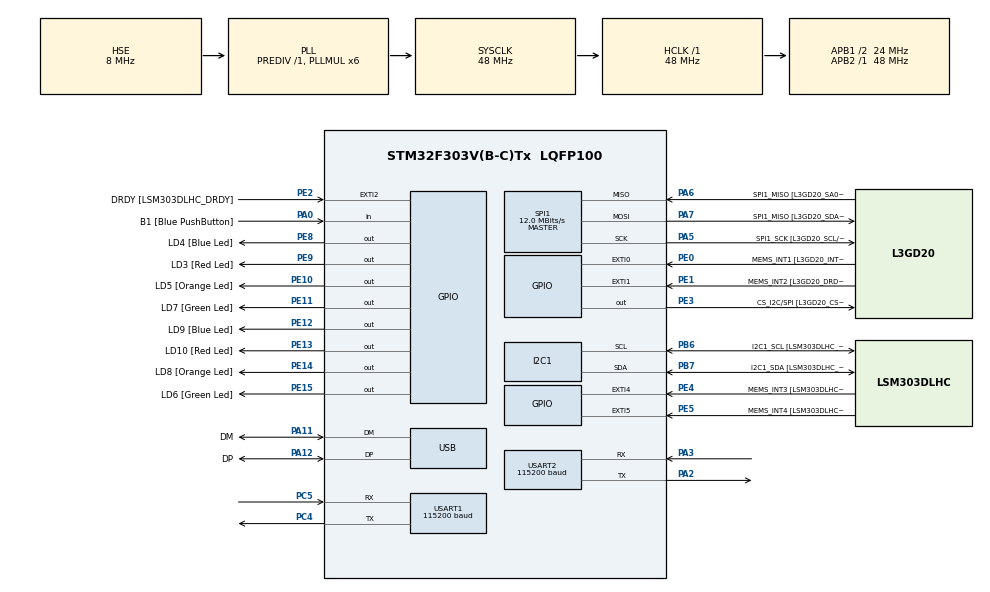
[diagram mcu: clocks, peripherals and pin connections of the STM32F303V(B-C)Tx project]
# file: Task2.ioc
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I2C1.Timing=0x2000090E
I2C1.Timing-I2C=0x2000090E
Mcu.Family=STM32F3
Mcu.Name=STM32F303V(B-C)Tx
Mcu.Package=LQFP100
NVIC.PriorityGroup=NVIC_PRIORITYGROUP_0
PA0.GPIO_Label=B1 [Blue PushButton]
PA0.Signal=GPIO_Input
PA11.GPIO_Label=DM
PA11.Mode=Device
PA11.Signal=USB_DM
PA12.GPIO_Label=DP
PA12.Mode=Device
PA12.Signal=USB_DP
PA13.GPIO_Label=SWDIO
PA13.Mode=Serial_Wire
PA13.Signal=SYS_JTMS-SWDIO
PA14.GPIO_Label=SWCLK
PA14.Mode=Serial_Wire
PA14.Signal=SYS_JTCK-SWCLK
PA2.Mode=Asynchronous
PA2.Signal=USART2_TX
PA3.Mode=Asynchronous
PA3.Signal=USART2_RX
PA5.GPIO_Label=SPI1_SCK [L3GD20_SCL/SPC]
PA5.Mode=Full_Duplex_Master
PA5.Signal=SPI1_SCK
PA6.GPIO_Label=SPI1_MISO [L3GD20_SA0/SDO]
PA6.Mode=Full_Duplex_Master
PA6.Signal=SPI1_MISO
PA7.GPIO_Label=SPI1_MISO [L3GD20_SDA/SDI/SDO]
PA7.Mode=Full_Duplex_Master
PA7.Signal=SPI1_MOSI
PB3.GPIO_Label=SWO
PB3.Signal=SYS_JTDO-TRACESWO
PB6.GPIO_Label=I2C1_SCL [LSM303DLHC_SCL]
PB6.GPIO_Pu=GPIO_PULLUP
PB6.Mode=I2C
PB6.Signal=I2C1_SCL
PB7.GPIO_Label=I2C1_SDA [LSM303DLHC_SDA]
PB7.GPIO_Pu=GPIO_PULLUP
PB7.Mode=I2C
PB7.Signal=I2C1_SDA
PC14-OSC32_IN.GPIO_Label=OSC32_IN
PC14-OSC32_IN.Signal=RCC_OSC32_IN
PC15-OSC32_OUT.GPIO_Label=OSC32_OUT
PC15-OSC32_OUT.Signal=RCC_OSC32_OUT
PC4.Mode=Asynchronous
PC4.Signal=USART1_TX
PC5.Mode=Asynchronous
PC5.Signal=USART1_RX
PE0.GPIO_Label=MEMS_INT1 [L3GD20_INT1]
PE0.GPIO_ModeDefaultEXTI=GPIO_MODE_EVT_RISING
PE0.Signal=GPXTI0
PE1.GPIO_Label=MEMS_INT2 [L3GD20_DRDY/INT2]
PE1.GPIO_ModeDefaultEXTI=GPIO_MODE_EVT_RISING
PE1.Signal=GPXTI1
PE10.GPIO_Label=LD5 [Orange Led]
PE10.Signal=GPIO_Output
PE11.GPIO_Label=LD7 [Green Led]
PE11.Signal=GPIO_Output
PE12.GPIO_Label=LD9 [Blue Led]
PE12.Signal=GPIO_Output
PE13.GPIO_Label=LD10 [Red Led]
PE13.Signal=GPIO_Output
PE14.GPIO_Label=LD8 [Orange Led]
PE14.Signal=GPIO_Output
PE15.GPIO_Label=LD6 [Green Led]
PE15.Signal=GPIO_Output
PE2.GPIO_Label=DRDY [LSM303DLHC_DRDY]
PE2.GPIO_ModeDefaultEXTI=GPIO_MODE_EVT_RISING
PE2.Signal=GPXTI2
PE3.GPIO_Label=CS_I2C/SPI [L3GD20_CS_I2C/SPI]
PE3.Signal=GPIO_Output
PE4.GPIO_Label=MEMS_INT3 [LSM303DLHC_INT1]
PE4.GPIO_ModeDefaultEXTI=GPIO_MODE_EVT_RISING
PE4.Signal=GPXTI4
PE5.GPIO_Label=MEMS_INT4 [LSM303DLHC_INT2]
PE5.GPIO_ModeDefaultEXTI=GPIO_MODE_EVT_RISING
PE5.Signal=GPXTI5
PE8.GPIO_Label=LD4 [Blue Led]
PE8.Signal=GPIO_Output
PE9.GPIO_Label=LD3 [Red Led]
PE9.Signal=GPIO_Output
PF0-OSC_IN.GPIO_Label=OSC_IN
PF0-OSC_IN.Mode=HSE-External-Clock-Source
PF0-OSC_IN.Signal=RCC_OSC_IN
PF1-OSC_OUT.GPIO_Label=OSC_OUT
PF1-OSC_OUT.Signal=RCC_OSC_OUT
ProjectManager.HeapSize=0x200
ProjectManager.StackSize=0x400
ProjectManager.TargetToolchain=CMake
RCC.AHBFreq_Value=48000000
RCC.APB1CLKDivider=RCC_HCLK_DIV2
RCC.APB1Freq_Value=24000000
RCC.APB1TimFreq_Value=48000000
RCC.APB2Freq_Value=48000000
RCC.APB2TimFreq_Value=48000000
RCC.CortexFreq_Value=48000000
RCC.HCLKFreq_Value=48000000
RCC.HSE_VALUE=8000000
RCC.HSI_VALUE=8000000
RCC.LSE_VALUE=32768
RCC.PLLMUL=RCC_PLL_MUL6
RCC.SYSCLKFreq_VALUE=48000000
RCC.SYSCLKSourceVirtual=RCC_SYSCLKSOURCE_PLLCLK
RCC.USBFreq_Value=48000000
SPI1.BaudRatePrescaler=SPI_BAUDRATEPRESCALER_4
SPI1.BaudRatePrescaler-Full_Duplex_Master=SPI_BAUDRATEPRESCALER_2
SPI1.CalculateBaudRate=12.0 MBits/s
SPI1.CalculateBaudRate-Full_Duplex_Master=24.0 MBits/s
SPI1.Direction=SPI_DIRECTION_2LINES
SPI1.Mode=SPI_MODE_MASTER
SPI1.Mode-Full_Duplex_Master=SPI_MODE_MASTER
SPI1.VirtualType=VM_MASTER
USART1.BaudRate=115200
USART1.VirtualMode-Asynchronous=VM_ASYNC
USART2.BaudRate=115200
USART2.VirtualMode-Asynchronous=VM_ASYNC
board=STM32F3DISCOVERY

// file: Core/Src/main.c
/* USER CODE BEGIN Header */
/**
  ******************************************************************************
  * @file           : main.c
  * @brief          : Main program body
  ******************************************************************************
  * @attention
  *
  * Copyright (c) 2025 STMicroelectronics.
  * All rights reserved.
  *
  * This software is licensed under terms that can be found in the LICENSE file
  * in the root directory of this software component.
  * If no LICENSE file comes with this software, it is provided AS-IS.
  *
  ******************************************************************************
  */
/* USER CODE END Header */
#include "main.h"

/* USER CODE BEGIN Includes */
#include "heap_driver.h"
#include <string.h>
#include <stdio.h>
/* USER CODE END Includes */

I2C_HandleTypeDef hi2c1;

SPI_HandleTypeDef hspi1;

UART_HandleTypeDef huart1;
UART_HandleTypeDef huart2;

PCD_HandleTypeDef hpcd_USB_FS;

void SystemClock_Config(void);
static void MX_GPIO_Init(void);
static void MX_I2C1_Init(void);
static void MX_SPI1_Init(void);
static void MX_USART1_UART_Init(void);
static void MX_USB_PCD_Init(void);
static void MX_USART2_UART_Init(void);

/* USER CODE BEGIN 0 */
void cout(const char* msg) {
  HAL_UART_Transmit(&huart2, (uint8_t*)msg, strlen(msg), HAL_MAX_DELAY);
}

/* USER CODE END 0 */

int main(void)
{

  /* MCU Configuration--------------------------------------------------------*/

  /* Reset of all peripherals, Initializes the Flash interface and the Systick. */
  HAL_Init();

  /* Configure the system clock */
  SystemClock_Config();

  /* Initialize all configured peripherals */
  MX_GPIO_Init();
  MX_I2C1_Init();
  MX_SPI1_Init();
  MX_USART1_UART_Init();
  MX_USB_PCD_Init();
  MX_USART2_UART_Init();
  /* USER CODE BEGIN 2 */

  // Print a message over UART to indicate the start of the test.
  cout("Custom Heap Driver (Direct SRAM)\r\n");
  heap_init();
  char* blk1 = (char*)heap_alloc(32);
  char* blk2 = (char*)heap_alloc(48);
  if (blk1 && blk2) {
      strcpy(blk1, "data in Block 1");
      strcpy(blk2, "txt from Block 2");
      cout(blk1);
      cout("\r\n");
      cout(blk2);
      cout("\r\n");

  } else {
      cout("allocation has failed.\r\n");
  }
  heap_free(blk1);
  heap_free(blk2);

  // Print a confirmation that memory has been freed.
  cout("blocks freed.\r\n");

  /* USER CODE END 2 */

  /* Infinite loop */
  while (1)
  {

  }
}

void SystemClock_Config(void)
{
  RCC_OscInitTypeDef RCC_OscInitStruct = {0};
  RCC_ClkInitTypeDef RCC_ClkInitStruct = {0};
  RCC_PeriphCLKInitTypeDef PeriphClkInit = {0};

  /** Initializes the RCC Oscillators according to the specified parameters
  * in the RCC_OscInitTypeDef structure.
  */
  RCC_OscInitStruct.OscillatorType = RCC_OSCILLATORTYPE_HSI|RCC_OSCILLATORTYPE_HSE;
  RCC_OscInitStruct.HSEState = RCC_HSE_BYPASS;
  RCC_OscInitStruct.HSEPredivValue = RCC_HSE_PREDIV_DIV1;
  RCC_OscInitStruct.HSIState = RCC_HSI_ON;
  RCC_OscInitStruct.HSICalibrationValue = RCC_HSICALIBRATION_DEFAULT;
  RCC_OscInitStruct.PLL.PLLState = RCC_PLL_ON;
  RCC_OscInitStruct.PLL.PLLSource = RCC_PLLSOURCE_HSE;
  RCC_OscInitStruct.PLL.PLLMUL = RCC_PLL_MUL6;
  if (HAL_RCC_OscConfig(&RCC_OscInitStruct) != HAL_OK)
  {
    Error_Handler();
  }

  /** Initializes the CPU, AHB and APB buses clocks
  */
  RCC_ClkInitStruct.ClockType = RCC_CLOCKTYPE_HCLK|RCC_CLOCKTYPE_SYSCLK
                              |RCC_CLOCKTYPE_PCLK1|RCC_CLOCKTYPE_PCLK2;
  RCC_ClkInitStruct.SYSCLKSource = RCC_SYSCLKSOURCE_PLLCLK;
  RCC_ClkInitStruct.AHBCLKDivider = RCC_SYSCLK_DIV1;
  RCC_ClkInitStruct.APB1CLKDivider = RCC_HCLK_DIV2;
  RCC_ClkInitStruct.APB2CLKDivider = RCC_HCLK_DIV1;

  if (HAL_RCC_ClockConfig(&RCC_ClkInitStruct, FLASH_LATENCY_1) != HAL_OK)
  {
    Error_Handler();
  }
  PeriphClkInit.PeriphClockSelection = RCC_PERIPHCLK_USB|RCC_PERIPHCLK_USART1
                              |RCC_PERIPHCLK_USART2|RCC_PERIPHCLK_I2C1;
  PeriphClkInit.Usart1ClockSelection = RCC_USART1CLKSOURCE_PCLK2;
  PeriphClkInit.Usart2ClockSelection = RCC_USART2CLKSOURCE_PCLK1;
  PeriphClkInit.I2c1ClockSelection = RCC_I2C1CLKSOURCE_HSI;
  PeriphClkInit.USBClockSelection = RCC_USBCLKSOURCE_PLL;
  if (HAL_RCCEx_PeriphCLKConfig(&PeriphClkInit) != HAL_OK)
  {
    Error_Handler();
  }
}

static void MX_I2C1_Init(void)
{

  hi2c1.Instance = I2C1;
  hi2c1.Init.Timing = 0x2000090E;
  hi2c1.Init.OwnAddress1 = 0;
  hi2c1.Init.AddressingMode = I2C_ADDRESSINGMODE_7BIT;
  hi2c1.Init.DualAddressMode = I2C_DUALADDRESS_DISABLE;
  hi2c1.Init.OwnAddress2 = 0;
  hi2c1.Init.OwnAddress2Masks = I2C_OA2_NOMASK;
  hi2c1.Init.GeneralCallMode = I2C_GENERALCALL_DISABLE;
  hi2c1.Init.NoStretchMode = I2C_NOSTRETCH_DISABLE;
  if (HAL_I2C_Init(&hi2c1) != HAL_OK)
  {
    Error_Handler();
  }

  /** Configure Analogue filter
  */
  if (HAL_I2CEx_ConfigAnalogFilter(&hi2c1, I2C_ANALOGFILTER_ENABLE) != HAL_OK)
  {
    Error_Handler();
  }

  /** Configure Digital filter
  */
  if (HAL_I2CEx_ConfigDigitalFilter(&hi2c1, 0) != HAL_OK)
  {
    Error_Handler();
  }

}

static void MX_SPI1_Init(void)
{

  /* SPI1 parameter configuration*/
  hspi1.Instance = SPI1;
  hspi1.Init.Mode = SPI_MODE_MASTER;
  hspi1.Init.Direction = SPI_DIRECTION_2LINES;
  hspi1.Init.DataSize = SPI_DATASIZE_4BIT;
  hspi1.Init.CLKPolarity = SPI_POLARITY_LOW;
  hspi1.Init.CLKPhase = SPI_PHASE_1EDGE;
  hspi1.Init.NSS = SPI_NSS_SOFT;
  hspi1.Init.BaudRatePrescaler = SPI_BAUDRATEPRESCALER_4;
  hspi1.Init.FirstBit = SPI_FIRSTBIT_MSB;
  hspi1.Init.TIMode = SPI_TIMODE_DISABLE;
  hspi1.Init.CRCCalculation = SPI_CRCCALCULATION_DISABLE;
  hspi1.Init.CRCPolynomial = 7;
  hspi1.Init.CRCLength = SPI_CRC_LENGTH_DATASIZE;
  hspi1.Init.NSSPMode = SPI_NSS_PULSE_ENABLE;
  if (HAL_SPI_Init(&hspi1) != HAL_OK)
  {
    Error_Handler();
  }

}

static void MX_USART1_UART_Init(void)
{

  huart1.Instance = USART1;
  huart1.Init.BaudRate = 115200;
  huart1.Init.WordLength = UART_WORDLENGTH_8B;
  huart1.Init.StopBits = UART_STOPBITS_1;
  huart1.Init.Parity = UART_PARITY_NONE;
  huart1.Init.Mode = UART_MODE_TX_RX;
  huart1.Init.HwFlowCtl = UART_HWCONTROL_NONE;
  huart1.Init.OverSampling = UART_OVERSAMPLING_16;
  huart1.Init.OneBitSampling = UART_ONE_BIT_SAMPLE_DISABLE;
  huart1.AdvancedInit.AdvFeatureInit = UART_ADVFEATURE_NO_INIT;
  if (HAL_UART_Init(&huart1) != HAL_OK)
  {
    Error_Handler();
  }

}

static void MX_USART2_UART_Init(void)
{

  huart2.Instance = USART2;
  huart2.Init.BaudRate = 115200;
  huart2.Init.WordLength = UART_WORDLENGTH_8B;
  huart2.Init.StopBits = UART_STOPBITS_1;
  huart2.Init.Parity = UART_PARITY_NONE;
  huart2.Init.Mode = UART_MODE_TX_RX;
  huart2.Init.HwFlowCtl = UART_HWCONTROL_NONE;
  huart2.Init.OverSampling = UART_OVERSAMPLING_16;
  huart2.Init.OneBitSampling = UART_ONE_BIT_SAMPLE_DISABLE;
  huart2.AdvancedInit.AdvFeatureInit = UART_ADVFEATURE_NO_INIT;
  if (HAL_UART_Init(&huart2) != HAL_OK)
  {
    Error_Handler();
  }

}

static void MX_USB_PCD_Init(void)
{

  hpcd_USB_FS.Instance = USB;
  hpcd_USB_FS.Init.dev_endpoints = 8;
  hpcd_USB_FS.Init.speed = PCD_SPEED_FULL;
  hpcd_USB_FS.Init.phy_itface = PCD_PHY_EMBEDDED;
  hpcd_USB_FS.Init.low_power_enable = DISABLE;
  hpcd_USB_FS.Init.battery_charging_enable = DISABLE;
  if (HAL_PCD_Init(&hpcd_USB_FS) != HAL_OK)
  {
    Error_Handler();
  }

}

static void MX_GPIO_Init(void)
{
  GPIO_InitTypeDef GPIO_InitStruct = {0};

  /* GPIO Ports Clock Enable */
  __HAL_RCC_GPIOE_CLK_ENABLE();
  __HAL_RCC_GPIOC_CLK_ENABLE();
  __HAL_RCC_GPIOF_CLK_ENABLE();
  __HAL_RCC_GPIOA_CLK_ENABLE();
  __HAL_RCC_GPIOB_CLK_ENABLE();

  /*Configure GPIO pin Output Level */
  HAL_GPIO_WritePin(GPIOE, CS_I2C_SPI_Pin|LD4_Pin|LD3_Pin|LD5_Pin
                          |LD7_Pin|LD9_Pin|LD10_Pin|LD8_Pin
                          |LD6_Pin, GPIO_PIN_RESET);

  /*Configure GPIO pins : DRDY_Pin MEMS_INT3_Pin MEMS_INT4_Pin MEMS_INT1_Pin
                           MEMS_INT2_Pin */
  GPIO_InitStruct.Pin = DRDY_Pin|MEMS_INT3_Pin|MEMS_INT4_Pin|MEMS_INT1_Pin
                          |MEMS_INT2_Pin;
  GPIO_InitStruct.Mode = GPIO_MODE_EVT_RISING;
  GPIO_InitStruct.Pull = GPIO_NOPULL;
  HAL_GPIO_Init(GPIOE, &GPIO_InitStruct);

  /*Configure GPIO pins : CS_I2C_SPI_Pin LD4_Pin LD3_Pin LD5_Pin
                           LD7_Pin LD9_Pin LD10_Pin LD8_Pin
                           LD6_Pin */
  GPIO_InitStruct.Pin = CS_I2C_SPI_Pin|LD4_Pin|LD3_Pin|LD5_Pin
                          |LD7_Pin|LD9_Pin|LD10_Pin|LD8_Pin
                          |LD6_Pin;
  GPIO_InitStruct.Mode = GPIO_MODE_OUTPUT_PP;
  GPIO_InitStruct.Pull = GPIO_NOPULL;
  GPIO_InitStruct.Speed = GPIO_SPEED_FREQ_LOW;
  HAL_GPIO_Init(GPIOE, &GPIO_InitStruct);

  /*Configure GPIO pin : B1_Pin */
  GPIO_InitStruct.Pin = B1_Pin;
  GPIO_InitStruct.Mode = GPIO_MODE_INPUT;
  GPIO_InitStruct.Pull = GPIO_NOPULL;
  HAL_GPIO_Init(B1_GPIO_Port, &GPIO_InitStruct);

}

void Error_Handler(void)
{
  __disable_irq();
  while (1)
  {
  }
}
